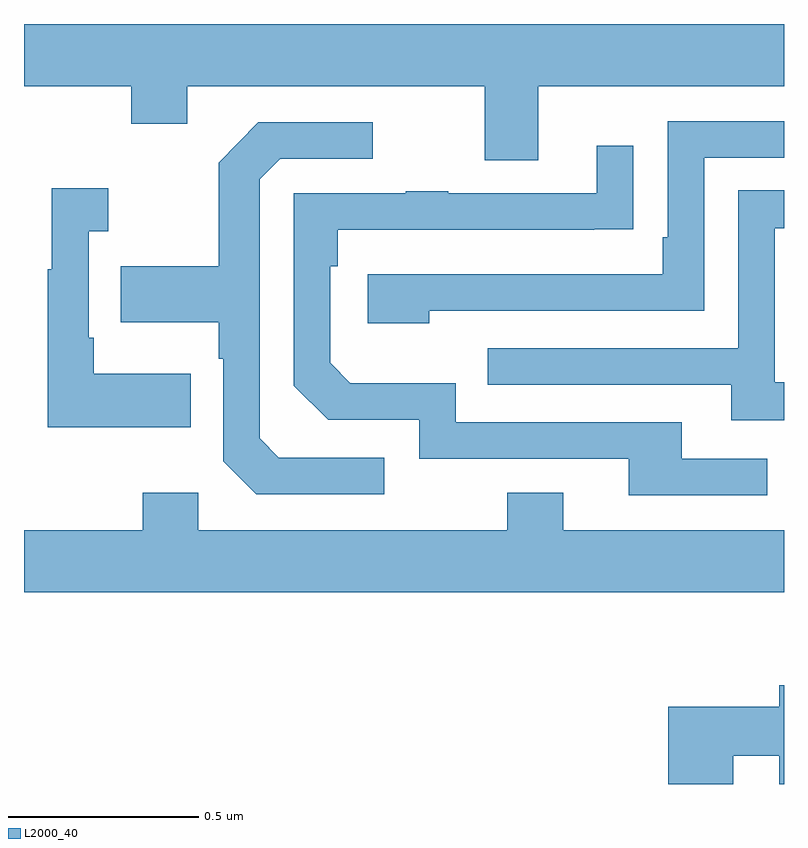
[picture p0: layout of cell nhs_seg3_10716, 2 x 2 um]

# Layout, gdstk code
import gdstk
lib = gdstk.Library(unit=1e-6, precision=1e-09)
def P(c, l, *ps):  # polygons
    for p in ps: c.add(gdstk.Polygon(p, *l))
L2000_40 = (2000, 40)

nhs_seg3_10716 = lib.new_cell('nhs_seg3_10716')
P(nhs_seg3_10716, L2000_40, [(245.353,714.236),(246,714.236),(246,714.4),(244,714.4),(244,714.236),(244.282,714.236),(244.282,714.137),(244.429,714.137),(244.429,714.236),(245.213,714.236),(245.213,714.042),(245.353,714.042)],
  [(245.066,713.646),(245.79,713.646),(245.79,714.048),(246,714.048),(246,714.144),(245.694,714.144),(245.694,713.839),(245.681,713.839),(245.681,713.742),(244.905,713.742),(244.905,713.612),(245.066,713.612)],
  [(244.948,713.259),(244.671,713.259),(244.62,713.31),(244.62,713.991),(244.674,714.045),(244.918,714.045),(244.918,714.141),(244.617,714.141),(244.512,714.035),(244.512,713.763),(244.255,713.763),(244.255,713.615),(244.512,713.615),(244.512,713.519),(244.524,713.519),(244.524,713.25),(244.611,713.163),(244.948,713.163)],
  [(245.956,713.256),(245.731,713.256),(245.731,713.352),(245.136,713.352),(245.136,713.455),(244.859,713.455),(244.806,713.508),(244.806,713.762),(244.826,713.762),(244.826,713.859),(245.501,713.859),(245.501,713.86),(245.603,713.86),(245.603,714.079),(245.507,714.079),(245.507,713.955),(245.117,713.955),(245.117,713.96),(245.005,713.96),(245.005,713.955),(244.71,713.955),(244.71,713.448),(244.8,713.358),(245.04,713.358),(245.04,713.256),(245.591,713.256),(245.591,713.16),(245.956,713.16)],
  [(244.439,713.479),(244.183,713.479),(244.183,713.575),(244.17,713.575),(244.17,713.855),(244.222,713.855),(244.222,713.968),(244.073,713.968),(244.073,713.755),(244.062,713.755),(244.062,713.339),(244.439,713.339)],
  [(246,713.457),(245.976,713.457),(245.976,713.862),(246,713.862),(246,713.963),(245.88,713.963),(245.88,713.547),(245.221,713.547),(245.221,713.451),(245.861,713.451),(245.861,713.357),(246,713.357)],
  [(246,713.068),(245.419,713.068),(245.419,713.167),(245.272,713.167),(245.272,713.068),(244.458,713.068),(244.458,713.167),(244.312,713.167),(244.312,713.068),(244,713.068),(244,712.904),(246,712.904)],
  [(245.866,712.474),(245.987,712.474),(245.987,712.4),(246,712.4),(246,712.66),(245.987,712.66),(245.987,712.603),(245.696,712.603),(245.696,712.4),(245.866,712.4)])

lib.write_gds('nhs_seg3_10716.gds')
